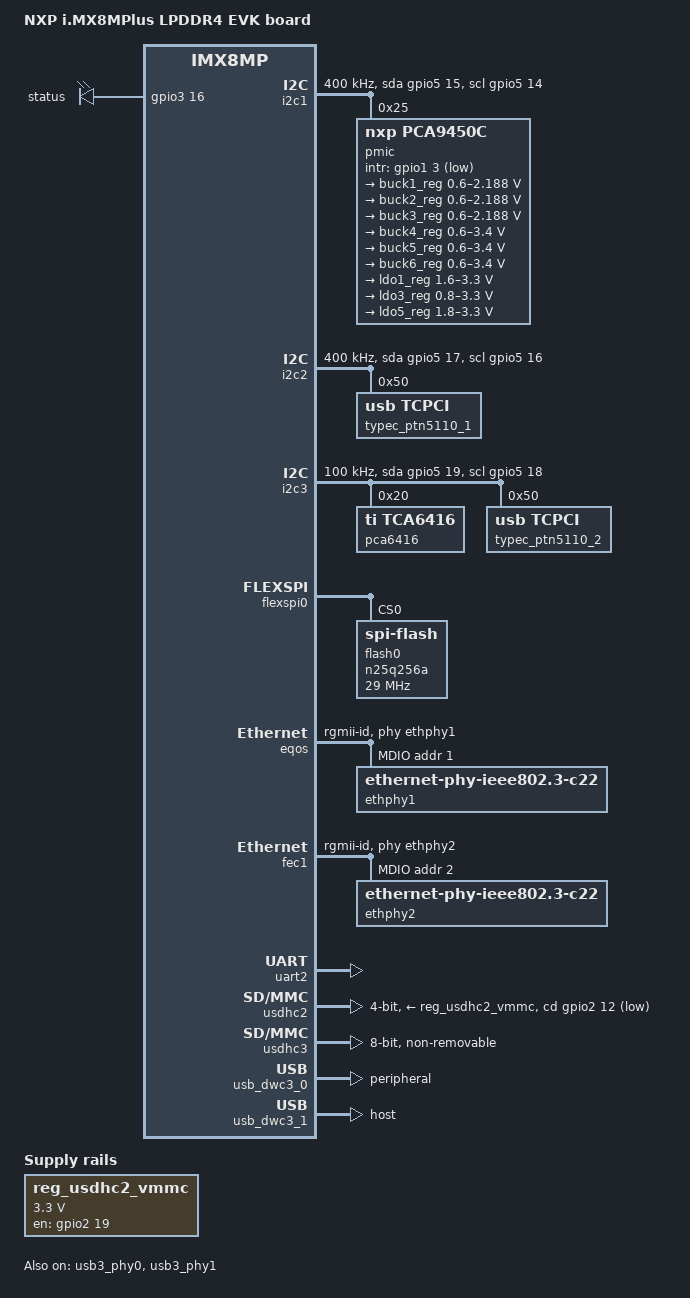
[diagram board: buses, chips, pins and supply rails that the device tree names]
// SPDX-License-Identifier: GPL-2.0+
/*
 * Copyright 2019 NXP
 */

/dts-v1/;

#include "fsl-imx8mp.dtsi"

/ {
	model = "NXP i.MX8MPlus LPDDR4 EVK board";
	compatible = "fsl,imx8mp-evk", "fsl,imx8mp";

	chosen {
		bootargs = "console=ttymxc1,115200 earlycon=ec_imx6q,0x30890000,115200";
		stdout-path = &uart2;
	};

	leds {
		compatible = "gpio-leds";
		pinctrl-names = "default";
		pinctrl-0 = <&pinctrl_gpio_led>;

		status {
			label = "status";
			gpios = <&gpio3 16 GPIO_ACTIVE_HIGH>;
			default-state = "on"; /* LED GREEN */
		};
	};

	firmware {
		optee {
			compatible = "linaro,optee-tz";
			method = "smc";
		};
	};

	reg_usdhc2_vmmc: regulator-usdhc2 {
		compatible = "regulator-fixed";
		regulator-name = "VSD_3V3";
		regulator-min-microvolt = <3300000>;
		regulator-max-microvolt = <3300000>;
		gpio = <&gpio2 19 GPIO_ACTIVE_HIGH>;
		enable-active-high;
		startup-delay-us = <100>;
		u-boot,off-on-delay-us = <12000>;
	};
};

&iomuxc {
	pinctrl-names = "default";
	pinctrl-0 = <&pinctrl_hog_1>;

	imx8mp-evk {
		pinctrl_gpio_led: gpioledgrp {
			fsl,pins = <
				MX8MP_IOMUXC_NAND_READY_B__GPIO3_IO16	0x19
			>;
		};

		pinctrl_hog_1: hoggrp-1 {
			fsl,pins = <
				MX8MP_IOMUXC_GPIO1_IO14__GPIO1_IO14		0x16
				MX8MP_IOMUXC_GPIO1_IO08__GPIO1_IO08		0x16
			>;
		};

		pinctrl_eqos: eqosgrp {
			fsl,pins = <
				MX8MP_IOMUXC_ENET_MDC__ENET_QOS_MDC 	0x3
				MX8MP_IOMUXC_ENET_MDIO__ENET_QOS_MDIO 	0x3
				MX8MP_IOMUXC_ENET_RD0__ENET_QOS_RGMII_RD0 	0x91
				MX8MP_IOMUXC_ENET_RD1__ENET_QOS_RGMII_RD1 	0x91
				MX8MP_IOMUXC_ENET_RD2__ENET_QOS_RGMII_RD2 	0x91
				MX8MP_IOMUXC_ENET_RD3__ENET_QOS_RGMII_RD3 	0x91
				MX8MP_IOMUXC_ENET_RXC__CCM_ENET_QOS_CLOCK_GENERATE_RX_CLK 	0x91
				MX8MP_IOMUXC_ENET_RX_CTL__ENET_QOS_RGMII_RX_CTL 	0x91
				MX8MP_IOMUXC_ENET_TD0__ENET_QOS_RGMII_TD0	0x1f
				MX8MP_IOMUXC_ENET_TD1__ENET_QOS_RGMII_TD1	0x1f
				MX8MP_IOMUXC_ENET_TD2__ENET_QOS_RGMII_TD2	0x1f
				MX8MP_IOMUXC_ENET_TD3__ENET_QOS_RGMII_TD3	0x1f
				MX8MP_IOMUXC_ENET_TX_CTL__ENET_QOS_RGMII_TX_CTL	0x1f
				MX8MP_IOMUXC_ENET_TXC__CCM_ENET_QOS_CLOCK_GENERATE_TX_CLK	0x1f
			>;
		};

		pinctrl_fec1: fec1grp {
			fsl,pins = <
				MX8MP_IOMUXC_SAI1_RXD2__ENET1_MDC 	0x3
				MX8MP_IOMUXC_SAI1_RXD3__ENET1_MDIO 	0x3
				MX8MP_IOMUXC_SAI1_RXD4__ENET1_RGMII_RD0	0x91
				MX8MP_IOMUXC_SAI1_RXD5__ENET1_RGMII_RD1	0x91
				MX8MP_IOMUXC_SAI1_RXD6__ENET1_RGMII_RD2	0x91
				MX8MP_IOMUXC_SAI1_RXD7__ENET1_RGMII_RD3	0x91
				MX8MP_IOMUXC_SAI1_TXC__ENET1_RGMII_RXC	0x91
				MX8MP_IOMUXC_SAI1_TXFS__ENET1_RGMII_RX_CTL	0x91
				MX8MP_IOMUXC_SAI1_TXD0__ENET1_RGMII_TD0	0x1f
				MX8MP_IOMUXC_SAI1_TXD1__ENET1_RGMII_TD1	0x1f
				MX8MP_IOMUXC_SAI1_TXD2__ENET1_RGMII_TD2	0x1f
				MX8MP_IOMUXC_SAI1_TXD3__ENET1_RGMII_TD3	0x1f
				MX8MP_IOMUXC_SAI1_TXD4__ENET1_RGMII_TX_CTL	0x1f
				MX8MP_IOMUXC_SAI1_TXD5__ENET1_RGMII_TXC		0x1f
			>;
		};

		pinctrl_flexspi0: flexspi0grp {
			fsl,pins = <
				MX8MP_IOMUXC_NAND_ALE__FLEXSPI_A_SCLK 0x1c4
				MX8MP_IOMUXC_NAND_CE0_B__FLEXSPI_A_SS0_B 0x84

				MX8MP_IOMUXC_NAND_DQS__FLEXSPI_A_DQS 0x40000084
				MX8MP_IOMUXC_NAND_DATA00__FLEXSPI_A_DATA00 0x84
				MX8MP_IOMUXC_NAND_DATA01__FLEXSPI_A_DATA01 0x84
				MX8MP_IOMUXC_NAND_DATA02__FLEXSPI_A_DATA02 0x84
				MX8MP_IOMUXC_NAND_DATA03__FLEXSPI_A_DATA03 0x84
			>;
		};

		pinctrl_i2c1: i2c1grp {
			fsl,pins = <
				MX8MP_IOMUXC_I2C1_SCL__I2C1_SCL			0x400001c3
				MX8MP_IOMUXC_I2C1_SDA__I2C1_SDA			0x400001c3
			>;
		};

		pinctrl_i2c2: i2c2grp {
			fsl,pins = <
				MX8MP_IOMUXC_I2C2_SCL__I2C2_SCL			0x400001c3
				MX8MP_IOMUXC_I2C2_SDA__I2C2_SDA			0x400001c3
			>;
		};

		pinctrl_i2c3: i2c3grp {
			fsl,pins = <
				MX8MP_IOMUXC_I2C3_SCL__I2C3_SCL			0x400001c3
				MX8MP_IOMUXC_I2C3_SDA__I2C3_SDA			0x400001c3
			>;
		};

		pinctrl_i2c1_gpio: i2c1grp-gpio {
			fsl,pins = <
				MX8MP_IOMUXC_I2C1_SCL__GPIO5_IO14        		0x1c3
				MX8MP_IOMUXC_I2C1_SDA__GPIO5_IO15        	0x1c3
			>;
		};

		pinctrl_i2c2_gpio: i2c2grp-gpio {
			fsl,pins = <
				MX8MP_IOMUXC_I2C2_SCL__GPIO5_IO16        		0x1c3
				MX8MP_IOMUXC_I2C2_SDA__GPIO5_IO17        	0x1c3
			>;
		};

		pinctrl_i2c3_gpio: i2c3grp-gpio {
			fsl,pins = <
				MX8MP_IOMUXC_I2C3_SCL__GPIO5_IO18        		0x1c3
				MX8MP_IOMUXC_I2C3_SDA__GPIO5_IO19        	0x1c3
			>;
		};

		pinctrl_pmic: pmicirq {
			fsl,pins = <
				MX8MP_IOMUXC_GPIO1_IO03__GPIO1_IO03		0x41
			>;
		};

		pinctrl_uart2: uart1grp {
			fsl,pins = <
				MX8MP_IOMUXC_UART2_RXD__UART2_DCE_RX	0x49
				MX8MP_IOMUXC_UART2_TXD__UART2_DCE_TX	0x49
			>;
		};

		pinctrl_usdhc2_gpio: usdhc2grpgpio {
			fsl,pins = <
				MX8MP_IOMUXC_SD2_CD_B__GPIO2_IO12	0x1c4
				MX8MP_IOMUXC_SD2_RESET_B__GPIO2_IO19	0x41
			>;
		};

		pinctrl_usdhc2: usdhc2grp {
			fsl,pins = <
				MX8MP_IOMUXC_SD2_CLK__USDHC2_CLK		0x190
				MX8MP_IOMUXC_SD2_CMD__USDHC2_CMD		0x1d0
				MX8MP_IOMUXC_SD2_DATA0__USDHC2_DATA0	0x1d0
				MX8MP_IOMUXC_SD2_DATA1__USDHC2_DATA1	0x1d0
				MX8MP_IOMUXC_SD2_DATA2__USDHC2_DATA2	0x1d0
				MX8MP_IOMUXC_SD2_DATA3__USDHC2_DATA3	0x1d0
				MX8MP_IOMUXC_GPIO1_IO04__USDHC2_VSELECT	0x1d0
			>;
		};

		pinctrl_usdhc2_100mhz: usdhc2grp100mhz {
			fsl,pins = <
				MX8MP_IOMUXC_SD2_CLK__USDHC2_CLK		0x194
				MX8MP_IOMUXC_SD2_CMD__USDHC2_CMD		0x1d4
				MX8MP_IOMUXC_SD2_DATA0__USDHC2_DATA0	0x1d4
				MX8MP_IOMUXC_SD2_DATA1__USDHC2_DATA1	0x1d4
				MX8MP_IOMUXC_SD2_DATA2__USDHC2_DATA2	0x1d4
				MX8MP_IOMUXC_SD2_DATA3__USDHC2_DATA3	0x1d4
				MX8MP_IOMUXC_GPIO1_IO04__USDHC2_VSELECT	0x1d0
			>;
		};

		pinctrl_usdhc2_200mhz: usdhc2grp200mhz {
			fsl,pins = <
				MX8MP_IOMUXC_SD2_CLK__USDHC2_CLK		0x196
				MX8MP_IOMUXC_SD2_CMD__USDHC2_CMD		0x1d6
				MX8MP_IOMUXC_SD2_DATA0__USDHC2_DATA0	0x1d6
				MX8MP_IOMUXC_SD2_DATA1__USDHC2_DATA1	0x1d6
				MX8MP_IOMUXC_SD2_DATA2__USDHC2_DATA2	0x1d6
				MX8MP_IOMUXC_SD2_DATA3__USDHC2_DATA3	0x1d6
				MX8MP_IOMUXC_GPIO1_IO04__USDHC2_VSELECT	0x1d0
			>;
		};

		pinctrl_usdhc3: usdhc3grp {
			fsl,pins = <
				MX8MP_IOMUXC_NAND_WE_B__USDHC3_CLK		0x190
				MX8MP_IOMUXC_NAND_WP_B__USDHC3_CMD		0x1d0
				MX8MP_IOMUXC_NAND_DATA04__USDHC3_DATA0		0x1d0
				MX8MP_IOMUXC_NAND_DATA05__USDHC3_DATA1		0x1d0
				MX8MP_IOMUXC_NAND_DATA06__USDHC3_DATA2		0x1d0
				MX8MP_IOMUXC_NAND_DATA07__USDHC3_DATA3		0x1d0
				MX8MP_IOMUXC_NAND_RE_B__USDHC3_DATA4		0x1d0
				MX8MP_IOMUXC_NAND_CE2_B__USDHC3_DATA5		0x1d0
				MX8MP_IOMUXC_NAND_CE3_B__USDHC3_DATA6		0x1d0
				MX8MP_IOMUXC_NAND_CLE__USDHC3_DATA7		0x1d0
				MX8MP_IOMUXC_NAND_CE1_B__USDHC3_STROBE 		0x190
			>;
		};

		pinctrl_usdhc3_100mhz: usdhc3grp100mhz {
			fsl,pins = <
				MX8MP_IOMUXC_NAND_WE_B__USDHC3_CLK		0x40000194
				MX8MP_IOMUXC_NAND_WP_B__USDHC3_CMD		0x1d4
				MX8MP_IOMUXC_NAND_DATA04__USDHC3_DATA0		0x1d4
				MX8MP_IOMUXC_NAND_DATA05__USDHC3_DATA1		0x1d4
				MX8MP_IOMUXC_NAND_DATA06__USDHC3_DATA2		0x1d4
				MX8MP_IOMUXC_NAND_DATA07__USDHC3_DATA3		0x1d4
				MX8MP_IOMUXC_NAND_RE_B__USDHC3_DATA4		0x1d4
				MX8MP_IOMUXC_NAND_CE2_B__USDHC3_DATA5		0x1d4
				MX8MP_IOMUXC_NAND_CE3_B__USDHC3_DATA6		0x1d4
				MX8MP_IOMUXC_NAND_CLE__USDHC3_DATA7		0x1d4
				MX8MP_IOMUXC_NAND_CE1_B__USDHC3_STROBE 		0x194
			>;
		};

		pinctrl_usdhc3_200mhz: usdhc3grp200mhz {
			fsl,pins = <
				MX8MP_IOMUXC_NAND_WE_B__USDHC3_CLK		0x40000196
				MX8MP_IOMUXC_NAND_WP_B__USDHC3_CMD		0x1d6
				MX8MP_IOMUXC_NAND_DATA04__USDHC3_DATA0		0x1d6
				MX8MP_IOMUXC_NAND_DATA05__USDHC3_DATA1		0x1d6
				MX8MP_IOMUXC_NAND_DATA06__USDHC3_DATA2		0x1d6
				MX8MP_IOMUXC_NAND_DATA07__USDHC3_DATA3		0x1d6
				MX8MP_IOMUXC_NAND_RE_B__USDHC3_DATA4		0x1d6
				MX8MP_IOMUXC_NAND_CE2_B__USDHC3_DATA5		0x1d6
				MX8MP_IOMUXC_NAND_CE3_B__USDHC3_DATA6		0x1d6
				MX8MP_IOMUXC_NAND_CLE__USDHC3_DATA7		0x1d6
				MX8MP_IOMUXC_NAND_CE1_B__USDHC3_STROBE 		0x196
			>;
		};
	};
};

&i2c1 {
	clock-frequency = <400000>;
	pinctrl-names = "default", "gpio";
	pinctrl-0 = <&pinctrl_i2c1>;
	pinctrl-1 = <&pinctrl_i2c1_gpio>;
	scl-gpios = <&gpio5 14 GPIO_ACTIVE_HIGH>;
	sda-gpios = <&gpio5 15 GPIO_ACTIVE_HIGH>;
	status = "okay";

	pmic: pca9450@25 {
		reg = <0x25>;
		compatible = "nxp,pca9450c";
		/* PMIC PCA9450 PMIC_nINT GPIO1_IO3 */
		pinctrl-0 = <&pinctrl_pmic>;
		gpio_intr = <&gpio1 3 GPIO_ACTIVE_LOW>;

		gpo {
			nxp,drv = <0x0C>;	/* 0b0000_1100 all gpos with cmos output mode */
		};

		regulators {
			#address-cells = <1>;
			#size-cells = <0>;

			pca9450,pmic-buck2-uses-i2c-dvs;
			pca9450,pmic-buck2-dvs-voltage = <1000000>, <900000>, <0>; /* VDD_ARM: Run-Idle */

			buck1_reg: regulator@0 {
				reg = <0>;
				regulator-compatible = "buck1";
				regulator-min-microvolt = <600000>;
				regulator-max-microvolt = <2187500>;
				regulator-boot-on;
				regulator-always-on;
				regulator-ramp-delay = <3125>;
			};

			buck2_reg: regulator@1 {
				reg = <1>;
				regulator-compatible = "buck2";
				regulator-min-microvolt = <600000>;
				regulator-max-microvolt = <2187500>;
				regulator-boot-on;
				regulator-always-on;
				regulator-ramp-delay = <3125>;
			};

			buck3_reg: regulator@2 {
				reg = <2>;
				regulator-compatible = "buck3";
				regulator-min-microvolt = <600000>;
				regulator-max-microvolt = <2187500>;
				regulator-boot-on;
				regulator-always-on;
			};

			buck4_reg: regulator@3 {
				reg = <3>;
				regulator-compatible = "buck4";
				regulator-min-microvolt = <600000>;
				regulator-max-microvolt = <3400000>;
				regulator-boot-on;
				regulator-always-on;
			};

			buck5_reg: regulator@4 {
				reg = <4>;
				regulator-compatible = "buck5";
				regulator-min-microvolt = <600000>;
				regulator-max-microvolt = <3400000>;
				regulator-boot-on;
				regulator-always-on;
			};

			buck6_reg: regulator@5 {
				reg = <5>;
				regulator-compatible = "buck6";
				regulator-min-microvolt = <600000>;
				regulator-max-microvolt = <3400000>;
				regulator-boot-on;
				regulator-always-on;
			};

			ldo1_reg: regulator@6 {
				reg = <6>;
				regulator-compatible = "ldo1";
				regulator-min-microvolt = <1600000>;
				regulator-max-microvolt = <3300000>;
				regulator-boot-on;
				regulator-always-on;
			};

			ldo3_reg: regulator@8 {
				reg = <8>;
				regulator-compatible = "ldo3";
				regulator-min-microvolt = <800000>;
				regulator-max-microvolt = <3300000>;
				regulator-boot-on;
				regulator-always-on;
			};

			ldo5_reg: regulator@10 {
				reg = <10>;
				regulator-compatible = "ldo5";
				regulator-min-microvolt = <1800000>;
				regulator-max-microvolt = <3300000>;
			};

		};
	};
};

&i2c2 {
	clock-frequency = <400000>;
	pinctrl-names = "default", "gpio";
	pinctrl-0 = <&pinctrl_i2c2>;
	pinctrl-1 = <&pinctrl_i2c2_gpio>;
	scl-gpios = <&gpio5 16 GPIO_ACTIVE_HIGH>;
	sda-gpios = <&gpio5 17 GPIO_ACTIVE_HIGH>;
	status = "okay";

	typec_ptn5110_1: ptn5110@50 {
		compatible = "usb,tcpci";
		reg = <0x50>;
		src-pdos = <0x380190c8>;
		snk-pdos = <0x380190c8 0x3802d0c8>;
		max-snk-mv = <9000>;
		max-snk-ma = <2000>;
		op-snk-mw = <9000>;
		max-snk-mw = <18000>;
		port-type = "drp";
		default-role = "sink";
	};
};

&i2c3 {
	clock-frequency = <100000>;
	pinctrl-names = "default", "gpio";
	pinctrl-0 = <&pinctrl_i2c3>;
	pinctrl-1 = <&pinctrl_i2c3_gpio>;
	scl-gpios = <&gpio5 18 GPIO_ACTIVE_HIGH>;
	sda-gpios = <&gpio5 19 GPIO_ACTIVE_HIGH>;
	status = "okay";

	pca6416: gpio@20 {
		compatible = "ti,tca6416";
		reg = <0x20>;
		gpio-controller;
		#gpio-cells = <2>;
	};

	typec_ptn5110_2: ptn5110@50 {
		compatible = "usb,tcpci";
		reg = <0x50>;
		src-pdos = <0x380190c8>;
		snk-pdos = <0x380190c8 0x3802d0c8>;
		max-snk-mv = <9000>;
		max-snk-ma = <2000>;
		op-snk-mw = <9000>;
		max-snk-mw = <18000>;
		port-type = "drp";
		default-role = "sink";
	};
};

&flexspi0 {
	pinctrl-names = "default";
	pinctrl-0 = <&pinctrl_flexspi0>;
	status = "okay";

	flash0: n25q256a@0 {
		reg = <0>;
		#address-cells = <1>;
		#size-cells = <1>;
		compatible = "spi-flash";
		spi-max-frequency = <29000000>;
		spi-nor,ddr-quad-read-dummy = <8>;
	};
};

&eqos {
	pinctrl-names = "default";
	pinctrl-0 = <&pinctrl_eqos>;
	phy-mode = "rgmii-id";
	phy-handle = <&ethphy1>;
	status = "okay";

	mdio {
		#address-cells = <1>;
		#size-cells = <0>;

		ethphy1: ethernet-phy@1 {
			compatible = "ethernet-phy-ieee802.3-c22";
			reg = <1>;
			at803x,led-act-blind-workaround;
			at803x,eee-okay;
			at803x,vddio-1p8v;
		};
	};
};

&fec1 {
	pinctrl-names = "default";
	pinctrl-0 = <&pinctrl_fec1>;
	phy-mode = "rgmii-id";
	phy-handle = <&ethphy2>;
	fsl,magic-packet;
	status = "okay";

	mdio {
		#address-cells = <1>;
		#size-cells = <0>;

		ethphy2: ethernet-phy@2 {
			compatible = "ethernet-phy-ieee802.3-c22";
			reg = <2>;
			at803x,led-act-blind-workaround;
			at803x,eee-okay;
			at803x,vddio-1p8v;
		};
	};
};

&uart2 { /* console */
	pinctrl-names = "default";
	pinctrl-0 = <&pinctrl_uart2>;
	status = "okay";
};

&usdhc2 {
	pinctrl-names = "default", "state_100mhz", "state_200mhz";
	pinctrl-0 = <&pinctrl_usdhc2>, <&pinctrl_usdhc2_gpio>;
	pinctrl-1 = <&pinctrl_usdhc2_100mhz>, <&pinctrl_usdhc2_gpio>;
	pinctrl-2 = <&pinctrl_usdhc2_200mhz>, <&pinctrl_usdhc2_gpio>;
	cd-gpios = <&gpio2 12 GPIO_ACTIVE_LOW>;
	bus-width = <4>;
	vmmc-supply = <&reg_usdhc2_vmmc>;
	status = "okay";
};

&usdhc3 {
	pinctrl-names = "default", "state_100mhz", "state_200mhz";
	pinctrl-0 = <&pinctrl_usdhc3>;
	pinctrl-1 = <&pinctrl_usdhc3_100mhz>;
	pinctrl-2 = <&pinctrl_usdhc3_200mhz>;
	bus-width = <8>;
	non-removable;
	status = "okay";
};

&usb3_phy0 {
	status = "okay";
};

&usb_dwc3_0 {
	status = "okay";
	dr_mode = "peripheral";
};

&usb3_phy1 {
	status = "okay";
};

&usb_dwc3_1 {
	status = "okay";
	dr_mode = "host";
};

&A53_0 {
	arm-supply = <&buck2_reg>;
};
